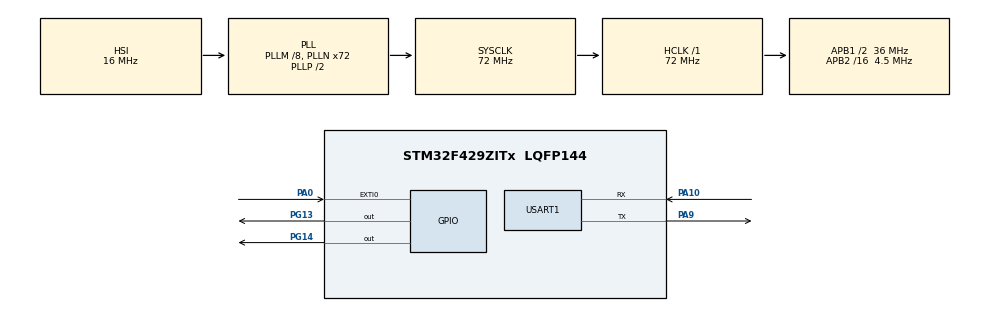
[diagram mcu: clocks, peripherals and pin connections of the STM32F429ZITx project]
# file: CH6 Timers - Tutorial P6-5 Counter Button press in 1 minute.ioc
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Mcu.Family=STM32F4
Mcu.Name=STM32F429ZITx
Mcu.Package=LQFP144
NVIC.EXTI0_IRQn=true\:0\:0\:false\:false\:true\:true\:true\:true
NVIC.PriorityGroup=NVIC_PRIORITYGROUP_1
NVIC.TIM1_UP_TIM10_IRQn=true\:0\:0\:true\:false\:true\:true\:true\:true
PA0/WKUP.Signal=GPXTI0
PA10.Mode=Asynchronous
PA10.Signal=USART1_RX
PA9.Mode=Asynchronous
PA9.Signal=USART1_TX
PG13.Signal=GPIO_Output
PG14.Signal=GPIO_Output
ProjectManager.HeapSize=0x200
ProjectManager.StackSize=0x400
ProjectManager.TargetToolchain=STM32CubeIDE
RCC.48MHZClocksFreq_Value=20571428.57142857
RCC.AHBFreq_Value=72000000
RCC.APB1CLKDivider=RCC_HCLK_DIV2
RCC.APB1Freq_Value=36000000
RCC.APB1TimFreq_Value=72000000
RCC.APB2CLKDivider=RCC_HCLK_DIV16
RCC.APB2Freq_Value=4500000
RCC.APB2TimFreq_Value=9000000
RCC.CortexFreq_Value=72000000
RCC.HCLKFreq_Value=72000000
RCC.HSE_VALUE=8000000
RCC.HSI_VALUE=16000000
RCC.LSE_VALUE=32768
RCC.PLLM=8
RCC.PLLN=72
RCC.PLLQ=7
RCC.SYSCLKFreq_VALUE=72000000
RCC.SYSCLKSource=RCC_SYSCLKSOURCE_PLLCLK
RCC.VCOOutputFreq_Value=144000000
TIM1.Period=30000-1
TIM1.Prescaler=9000-1
USART1.OverSampling=UART_OVERSAMPLING_8
USART1.VirtualMode=VM_ASYNC
VP_TIM1_VS_ClockSourceINT.Mode=Internal
board=STM32F429I-DISC1

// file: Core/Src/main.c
/* USER CODE BEGIN Header */
/**
  ******************************************************************************
  * @file           : main.c
  * @brief          : Main program body
  ******************************************************************************
  * @attention
  *
  * Copyright (c) 2023 STMicroelectronics.
  * All rights reserved.
  *
  * This software is licensed under terms that can be found in the LICENSE file
  * in the root directory of this software component.
  * If no LICENSE file comes with this software, it is provided AS-IS.
  *
  ******************************************************************************
  */

 	/* 6 Timers - Problems: ******************************************
	* Tutorial P6-5
	*
	Form a project to count the number of user button (on the STM32F4 board)
	presses within 1min. Each button press should evoke an interrupt. Use appropriate
	timer in operation
	***************************************************************************/
/* USER CODE END Header */
#include "main.h"

/* USER CODE BEGIN Includes */
#include <stdio.h>
/* USER CODE END Includes */

TIM_HandleTypeDef htim1;

UART_HandleTypeDef huart1;

/* USER CODE BEGIN PV */
uint16_t counter, flag, flag1;
char ptr [50];
int len;
/* USER CODE END PV */

void SystemClock_Config(void);
static void MX_GPIO_Init(void);
static void MX_TIM1_Init(void);
static void MX_USART1_UART_Init(void);

/* USER CODE BEGIN 0 */
int _write(int file, char *ptr, int len)
{
  HAL_UART_Transmit(&huart1, (uint8_t*) ptr, len, HAL_MAX_DELAY);
  return len;
}

// Start with reset leds

/* USER CODE END 0 */

int main(void)
{

  /* MCU Configuration--------------------------------------------------------*/

  /* Reset of all peripherals, Initializes the Flash interface and the Systick. */
  HAL_Init();

  /* Configure the system clock */
  SystemClock_Config();

  /* Initialize all configured peripherals */
  MX_GPIO_Init();
  MX_TIM1_Init();
  MX_USART1_UART_Init();
  /* USER CODE BEGIN 2 */
  printf("*************Program to count the number of button presses in 1 minute ****************\r\n");

  HAL_GPIO_WritePin(GPIOG, GPIO_PIN_13, GPIO_PIN_RESET);
  HAL_GPIO_WritePin(GPIOG, GPIO_PIN_14, GPIO_PIN_RESET);

  // Clear timer update event flag before timer start
  if (__HAL_TIM_GET_FLAG(&htim1 , TIM_FLAG_UPDATE) != RESET)
  __HAL_TIM_CLEAR_FLAG(&htim1 , TIM_FLAG_UPDATE);
  // Start timer
  HAL_TIM_Base_Start_IT(&htim1);

  /* USER CODE END 2 */

  /* Infinite loop */
  /* USER CODE BEGIN WHILE */
  while (1)
  {

      // Enter sleep mode to save power
	  HAL_SuspendTick();
	  HAL_PWR_EnterSLEEPMode(PWR_MAINREGULATOR_ON, PWR_SLEEPENTRY_WFI);
	  HAL_ResumeTick();

	  if (flag == 1){
		  printf("Number of pressed buttons in 30 seconds are %u\r\n", counter);
		  flag = 0;
		  counter = 0;
	  }
	  if (flag1 == 1){
		  printf("Pressed button counter: %u\r\n", counter);
		  flag1 = 0;
	  }

    /* USER CODE END WHILE */

  }
}

void SystemClock_Config(void)
{
  RCC_OscInitTypeDef RCC_OscInitStruct = {0};
  RCC_ClkInitTypeDef RCC_ClkInitStruct = {0};

  /** Configure the main internal regulator output voltage
  */
  __HAL_RCC_PWR_CLK_ENABLE();
  __HAL_PWR_VOLTAGESCALING_CONFIG(PWR_REGULATOR_VOLTAGE_SCALE3);

  /** Initializes the RCC Oscillators according to the specified parameters
  * in the RCC_OscInitTypeDef structure.
  */
  RCC_OscInitStruct.OscillatorType = RCC_OSCILLATORTYPE_HSI;
  RCC_OscInitStruct.HSIState = RCC_HSI_ON;
  RCC_OscInitStruct.HSICalibrationValue = RCC_HSICALIBRATION_DEFAULT;
  RCC_OscInitStruct.PLL.PLLState = RCC_PLL_ON;
  RCC_OscInitStruct.PLL.PLLSource = RCC_PLLSOURCE_HSI;
  RCC_OscInitStruct.PLL.PLLM = 8;
  RCC_OscInitStruct.PLL.PLLN = 72;
  RCC_OscInitStruct.PLL.PLLP = RCC_PLLP_DIV2;
  RCC_OscInitStruct.PLL.PLLQ = 7;
  if (HAL_RCC_OscConfig(&RCC_OscInitStruct) != HAL_OK)
  {
    Error_Handler();
  }

  /** Initializes the CPU, AHB and APB buses clocks
  */
  RCC_ClkInitStruct.ClockType = RCC_CLOCKTYPE_HCLK|RCC_CLOCKTYPE_SYSCLK
                              |RCC_CLOCKTYPE_PCLK1|RCC_CLOCKTYPE_PCLK2;
  RCC_ClkInitStruct.SYSCLKSource = RCC_SYSCLKSOURCE_PLLCLK;
  RCC_ClkInitStruct.AHBCLKDivider = RCC_SYSCLK_DIV1;
  RCC_ClkInitStruct.APB1CLKDivider = RCC_HCLK_DIV2;
  RCC_ClkInitStruct.APB2CLKDivider = RCC_HCLK_DIV16;

  if (HAL_RCC_ClockConfig(&RCC_ClkInitStruct, FLASH_LATENCY_2) != HAL_OK)
  {
    Error_Handler();
  }
}

static void MX_TIM1_Init(void)
{

  TIM_ClockConfigTypeDef sClockSourceConfig = {0};
  TIM_MasterConfigTypeDef sMasterConfig = {0};

  htim1.Instance = TIM1;
  htim1.Init.Prescaler = 9000-1;
  htim1.Init.CounterMode = TIM_COUNTERMODE_UP;
  htim1.Init.Period = 30000-1;
  htim1.Init.ClockDivision = TIM_CLOCKDIVISION_DIV1;
  htim1.Init.RepetitionCounter = 0;
  htim1.Init.AutoReloadPreload = TIM_AUTORELOAD_PRELOAD_DISABLE;
  if (HAL_TIM_Base_Init(&htim1) != HAL_OK)
  {
    Error_Handler();
  }
  sClockSourceConfig.ClockSource = TIM_CLOCKSOURCE_INTERNAL;
  if (HAL_TIM_ConfigClockSource(&htim1, &sClockSourceConfig) != HAL_OK)
  {
    Error_Handler();
  }
  sMasterConfig.MasterOutputTrigger = TIM_TRGO_RESET;
  sMasterConfig.MasterSlaveMode = TIM_MASTERSLAVEMODE_DISABLE;
  if (HAL_TIMEx_MasterConfigSynchronization(&htim1, &sMasterConfig) != HAL_OK)
  {
    Error_Handler();
  }

}

static void MX_USART1_UART_Init(void)
{

  huart1.Instance = USART1;
  huart1.Init.BaudRate = 115200;
  huart1.Init.WordLength = UART_WORDLENGTH_8B;
  huart1.Init.StopBits = UART_STOPBITS_1;
  huart1.Init.Parity = UART_PARITY_NONE;
  huart1.Init.Mode = UART_MODE_TX_RX;
  huart1.Init.HwFlowCtl = UART_HWCONTROL_NONE;
  huart1.Init.OverSampling = UART_OVERSAMPLING_8;
  if (HAL_UART_Init(&huart1) != HAL_OK)
  {
    Error_Handler();
  }

}

static void MX_GPIO_Init(void)
{
  GPIO_InitTypeDef GPIO_InitStruct = {0};

  /* GPIO Ports Clock Enable */
  __HAL_RCC_GPIOA_CLK_ENABLE();
  __HAL_RCC_GPIOG_CLK_ENABLE();

  /*Configure GPIO pin Output Level */
  HAL_GPIO_WritePin(GPIOG, GPIO_PIN_13|GPIO_PIN_14, GPIO_PIN_RESET);

  /*Configure GPIO pin : PA0 */
  GPIO_InitStruct.Pin = GPIO_PIN_0;
  GPIO_InitStruct.Mode = GPIO_MODE_IT_RISING;
  GPIO_InitStruct.Pull = GPIO_NOPULL;
  HAL_GPIO_Init(GPIOA, &GPIO_InitStruct);

  /*Configure GPIO pins : PG13 PG14 */
  GPIO_InitStruct.Pin = GPIO_PIN_13|GPIO_PIN_14;
  GPIO_InitStruct.Mode = GPIO_MODE_OUTPUT_PP;
  GPIO_InitStruct.Pull = GPIO_NOPULL;
  GPIO_InitStruct.Speed = GPIO_SPEED_FREQ_LOW;
  HAL_GPIO_Init(GPIOG, &GPIO_InitStruct);

  /* EXTI interrupt init*/
  HAL_NVIC_SetPriority(EXTI0_IRQn, 0, 0);
  HAL_NVIC_EnableIRQ(EXTI0_IRQn);

}

/* USER CODE BEGIN 4 */
// Function increment counter of button presses
void HAL_GPIO_EXTI_Callback(uint16_t GPIO_Pin){
	if (GPIO_Pin == GPIO_PIN_0){
		flag1 = 1;
		HAL_GPIO_TogglePin(GPIOG, GPIO_PIN_13);
		counter++;
	}
}

void HAL_TIM_PeriodElapsedCallback(TIM_HandleTypeDef *htim)
{
  if(htim == &htim1){
	 flag = 1;
	 HAL_GPIO_TogglePin(GPIOG, GPIO_PIN_14);
  }

  /* NOTE : This function should not be modified, when the callback is needed,
            the HAL_TIM_OC_DelayElapsedCallback could be implemented in the user file
   */
}
/* USER CODE END 4 */

void Error_Handler(void)
{
  __disable_irq();
  while (1)
  {
  }
}
